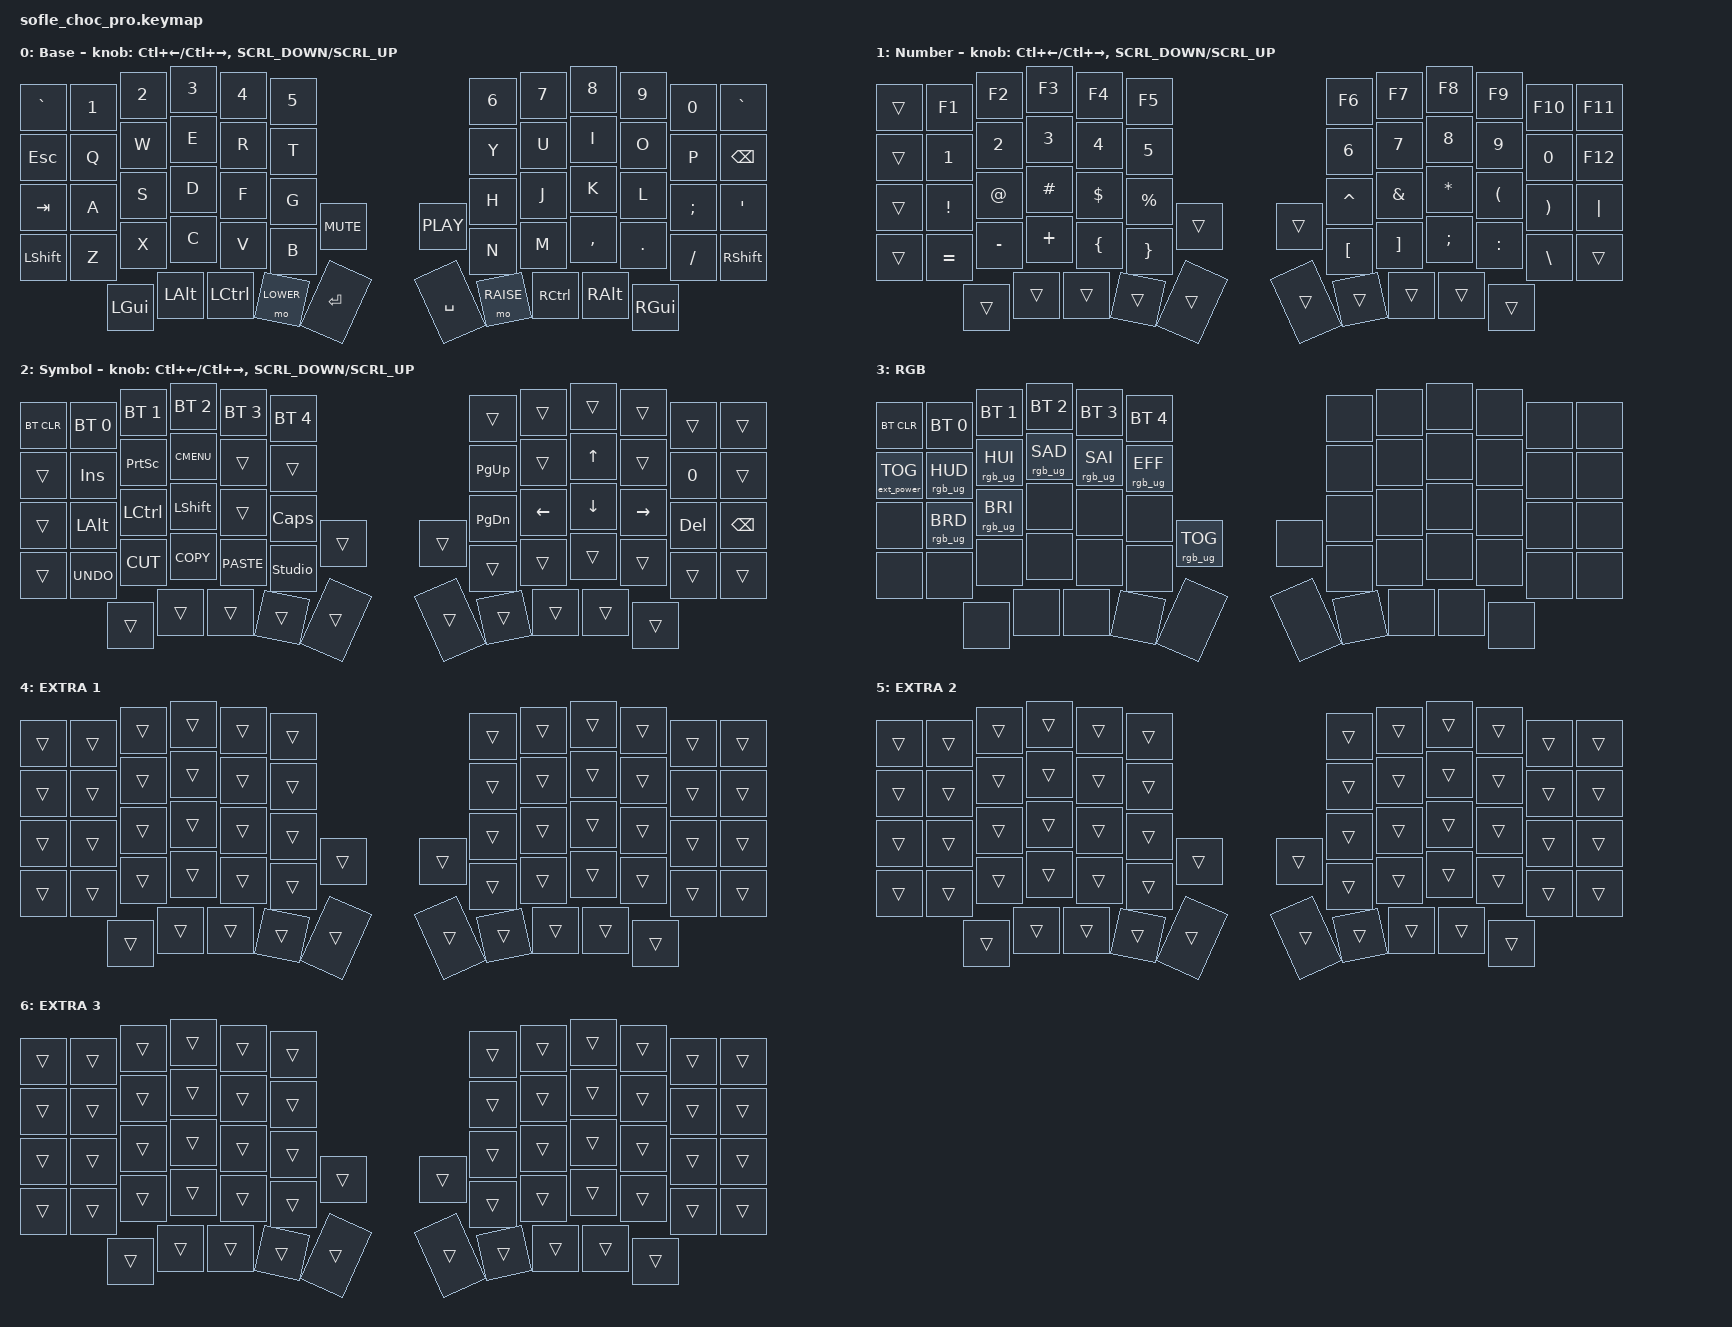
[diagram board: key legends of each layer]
/*
* Copyright (c) 2020 The ZMK Contributors
*
* SPDX-License-Identifier: MIT
*/

#include <behaviors.dtsi>
#include <dt-bindings/zmk/keys.h>
#include <dt-bindings/zmk/bt.h>
#include <dt-bindings/zmk/rgb.h>
#include <dt-bindings/zmk/ext_power.h>
#include <dt-bindings/zmk/pointing.h>

#define BASE 0
#define LOWER 1
#define RAISE 2
#define ADJUST 3

/ {

  // Activate ADJUST layer by pressing raise and lower
  conditional_layers {
    compatible = "zmk,conditional-layers";
    adjust_layer {
      if-layers = <LOWER RAISE>;
      then-layer = <ADJUST>;
    };
  };

  keymap {
    compatible = "zmk,keymap";

    default_layer {
      display-name = "Base";
      // ------------------------------------------------------------------------------------------------------------
      // |   `   |  1  |  2  |  3   |  4   |  5   |                   |  6   |  7    |  8    |  9   |   0   |   `   |
      // |  ESC  |  Q  |  W  |  E   |  R   |  T   |                   |  Y   |  U    |  I    |  O   |   P   | BKSPC |
      // |  TAB  |  A  |  S  |  D   |  F   |  G   |                   |  H   |  J    |  K    |  L   |   ;   |   '   |
      // | SHIFT |  Z  |  X  |  C   |  V   |  B   |  MUTE  |  | PLAY  |  N   |  M    |  ,    |  .   |   /   | SHIFT |
      //               | GUI | ALT  | CTRL | LOWER|  ENTER |  | SPACE | RAISE| CTRL  | ALT   | GUI  |
      bindings = <
        &kp GRAVE &kp N1 &kp N2   &kp N3   &kp N4    &kp N5                           &kp N6 &kp N7    &kp N8    &kp N9   &kp N0   &kp GRAVE
        &kp ESC   &kp Q  &kp W    &kp E    &kp R     &kp T                            &kp Y  &kp U     &kp I     &kp O    &kp P    &kp BSPC
        &kp TAB   &kp A  &kp S    &kp D    &kp F     &kp G                            &kp H  &kp J     &kp K     &kp L    &kp SEMI &kp SQT
        &kp LSHFT &kp Z  &kp X    &kp C    &kp V     &kp B   &kp C_MUTE &kp C_PLAY    &kp N  &kp M     &kp COMMA &kp DOT  &kp FSLH &kp RSHFT
        &kp LGUI &kp LALT &kp LCTRL &mo LOWER  &kp RET    &kp SPACE  &mo RAISE  &kp RCTRL &kp RALT  &kp RGUI
      >;

      sensor-bindings = <&inc_dec_kp LC(LEFT) LC(RIGHT) &inc_dec_kp SCRL_DOWN SCRL_UP>;
    };

    lower_layer {
      display-name = "Number";
      // ------------------------------------------------------------------------------------------------------------
      // |       |  F1 |  F2 |  F3  |  F4  |  F5  |                   |  F6  |  F7   |  F8   |  F9  |  F10  |  F11  |
      // |   `   |  1  |  2  |  3   |  4   |  5   |                   |  6   |  7    |  8    |  9   |   0   |  F12  |
      // |       |  !  |  @  |  #   |  $   |  %   |                   |  ^   |  &    |  *    |  (   |   )   |   |   |
      // |       |  =  |  -  |  +   |  {   |  }   |        |  |       |  [   |  ]    |  ;    |  :   |   \   |       |
      //               |     |      |      |      |        |  |       |      |       |       |      |
      bindings = <
        &trans    &kp F1    &kp F2    &kp F3      &kp F4    &kp F5                    &kp F6    &kp F7   &kp F8    &kp F9    &kp F10   &kp F11
        &trans    &kp N1    &kp N2    &kp N3      &kp N4    &kp N5                    &kp N6    &kp N7   &kp N8    &kp N9    &kp N0    &kp F12
        &trans    &kp EXCL  &kp AT    &kp HASH    &kp DLLR  &kp PRCNT                 &kp CARET &kp AMPS &kp ASTRK &kp LPAR  &kp RPAR  &kp PIPE
        &trans    &kp EQUAL &kp MINUS &kp PLUS &kp LBRC  &kp RBRC   &trans &trans  &kp LBKT  &kp RBKT &kp SEMI  &kp COLON &kp BSLH  &trans
        &trans    &trans      &trans    &trans     &trans &trans  &trans    &trans   &trans    &trans
      >;

      sensor-bindings = <&inc_dec_kp LC(LEFT) LC(RIGHT) &inc_dec_kp SCRL_DOWN SCRL_UP>;
    };

    raise_layer {
      display-name = "Symbol";
      // ------------------------------------------------------------------------------------------------------------
      // | BTCLR | BT1  | BT2  |  BT3  |  BT4  |  BT5 |                |      |      |       |      |       |       |
      // |       | INS  | PSCR | GUI   |       |      |                | PGUP |      |   ^   |      |       |       |
      // |       | ALT  | CTRL | SHIFT |       | CAPS |                | PGDN |   <- |   v   |  ->  |  DEL  | BKSPC |
      // |       | UNDO | CUT  | COPY  | PASTE |      |      |  |      |      |      |       |      |       |       |
      //                |      |       |       |      |      |  |      |      |      |       |      |
      bindings = <
        &bt BT_CLR &bt BT_SEL 0 &bt BT_SEL 1 &bt BT_SEL 2 &bt BT_SEL 3 &bt BT_SEL 4                  &trans    &trans    &trans   &trans    &trans  &trans
        &trans     &kp INS      &kp PSCRN    &kp K_CMENU  &trans       &trans                        &kp PG_UP &trans    &kp UP   &trans    &kp N0  &trans
        &trans     &kp LALT     &kp LCTRL    &kp LSHFT    &trans       &kp CLCK                      &kp PG_DN &kp LEFT  &kp DOWN &kp RIGHT &kp DEL &kp BSPC
        &trans     &kp K_UNDO   &kp K_CUT    &kp K_COPY   &kp K_PASTE  &studio_unlock        &trans  &trans  &trans    &trans    &trans   &trans    &trans  &trans
        &trans       &trans       &trans       &trans        &trans  &trans  &trans    &trans    &trans   &trans
      >;

      sensor-bindings = <&inc_dec_kp LC(LEFT) LC(RIGHT) &inc_dec_kp SCRL_DOWN SCRL_UP>;
    };

    adjust_layer {
      // ----------------------------------------------------------------------------------------------------------------------------
      // | BTCLR   |  BT1    |  BT2    |   BT3   |   BT4   |   BT5   |                  |      |      |       |      |       |       |
      // | EXTPWR  | RGB_HUD | RGB_HUI | RGB_SAD | RGB_SAI | RGB_EFF |                  |      |      |       |      |       |       |
      // |         | RGB_BRD | RGB_BRI |         |         |         |                  |      |      |       |      |       |       |
      // | RGB_TOG |         |         |         |         |         |         | |      |      |      |       |      |       |       |
      //                     |         |         |         |         |         | |      |      |      |       |      |
      display-name = "RGB";
      bindings = <
        &bt BT_CLR        &bt BT_SEL 0    &bt BT_SEL 1    &bt BT_SEL 2    &bt BT_SEL 3    &bt BT_SEL 4                            &none &none &none &none &none &none
        &ext_power EP_TOG &rgb_ug RGB_HUD &rgb_ug RGB_HUI &rgb_ug RGB_SAD &rgb_ug RGB_SAI &rgb_ug RGB_EFF                         &none &none &none &none &none &none
        &none             &rgb_ug RGB_BRD &rgb_ug RGB_BRI &none           &none           &none                                   &none &none &none &none &none &none
        &none             &none           &none           &none           &none           &none            &rgb_ug RGB_TOG &none  &none &none &none &none &none &none
        &none           &none           &none           &none            &none           &none  &none &none &none &none
      >;
    };

    extra_layer_1 {
      display-name = "EXTRA 1";
      bindings = <
        &trans &trans &trans &trans &trans &trans               &trans &trans &trans &trans &trans &trans
        &trans &trans &trans &trans &trans &trans               &trans &trans &trans &trans &trans &trans
        &trans &trans &trans &trans &trans &trans               &trans &trans &trans &trans &trans &trans
        &trans &trans &trans &trans &trans &trans &trans &trans &trans &trans &trans &trans &trans &trans
                      &trans &trans &trans &trans &trans &trans &trans &trans &trans &trans
      >;
    };

    extra_layer_2 {
      display-name = "EXTRA 2";
      bindings = <
        &trans &trans &trans &trans &trans &trans               &trans &trans &trans &trans &trans &trans
        &trans &trans &trans &trans &trans &trans               &trans &trans &trans &trans &trans &trans
        &trans &trans &trans &trans &trans &trans               &trans &trans &trans &trans &trans &trans
        &trans &trans &trans &trans &trans &trans &trans &trans &trans &trans &trans &trans &trans &trans
                      &trans &trans &trans &trans &trans &trans &trans &trans &trans &trans
      >;
    };

    extra_layer_3 {
      display-name = "EXTRA 3";
      bindings = <
        &trans &trans &trans &trans &trans &trans               &trans &trans &trans &trans &trans &trans
        &trans &trans &trans &trans &trans &trans               &trans &trans &trans &trans &trans &trans
        &trans &trans &trans &trans &trans &trans               &trans &trans &trans &trans &trans &trans
        &trans &trans &trans &trans &trans &trans &trans &trans &trans &trans &trans &trans &trans &trans
                      &trans &trans &trans &trans &trans &trans &trans &trans &trans &trans
      >;
    };
  };
};
